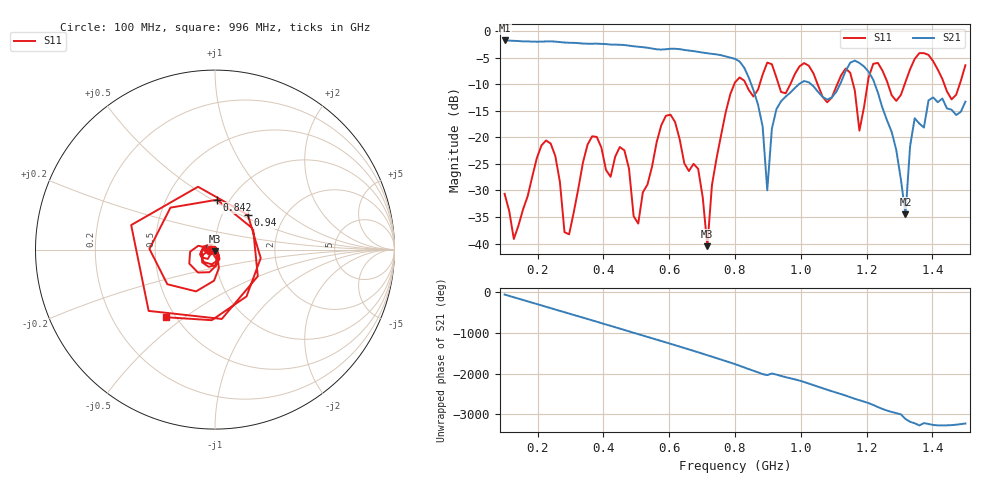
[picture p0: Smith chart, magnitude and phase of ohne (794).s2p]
! NanoVNA-App
! Date: 2025-09-25 14:26:59
! Start: 100MHz Stop: 1,5GHz Points: 101
! S-Parameter data: F S11 S21 S12 S22
# Hz S RI R 50
!  Frequency  S11_Real  S11_Imag  S21_Real  S21_Imag  S12_Real  S12_Imag  S22_Real  S22_Imag
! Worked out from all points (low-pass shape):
!   101 points, 100 MHz to 1.5 GHz, reference 50 ohm
!   highest |S21| = -1.79 dB at 100 MHz (marker M1); lowest = -34.5 dB at 1.318 GHz (marker M2)
!   |S21| within 3 dB of the highest: start of sweep to 771.6 MHz
!   lowest |S11| = -40.5 dB at 716 MHz (marker M3), VSWR 1.02, Z = 49.7 - j0.902 ohm
!   |S11| at or under -10 dB: start of sweep to 797.9 MHz; 833.2 MHz to 875.1 MHz (41.93 MHz wide, 4.91 % of centre); 1.051 GHz to 1.111 GHz (60.12 MHz wide, 5.56 % of centre) (the widest 3 of 7)
!   S12 and S22 are empty: the file has one direction only
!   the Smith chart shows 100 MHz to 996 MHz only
!   S11 on the Smith chart (normalised r, x): 100 MHz: 0.94, -0.01; 842 MHz: 0.88, +0.53; 940 MHz: 1.32, +0.55; 996 MHz: 0.45, -0.43
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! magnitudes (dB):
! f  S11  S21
! 100 MHz  -30.6  -1.8
! 128 MHz  -39.1  -1.9
! 226 MHz  -20.6  -2.0
! 296 MHz  -38.3  -2.2
! 338 MHz  -24.8  -2.4
! 464 MHz  -22.5  -2.7
! 506 MHz  -36.2  -3.0
! 576 MHz  -17.7  -3.5
! 688 MHz  -25.9  -3.9
! 716 MHz  -40.5  -4.2
! 800 MHz  -9.7  -5.3
! 842 MHz  -11.1  -8.8
! 898 MHz  -6.0  -30.0
! 940 MHz  -11.5  -13.2
! 996 MHz  -6.7  -9.9
! 1.038 GHz  -7.9  -10.4
! 1.178 GHz  -18.8  -6.0
! 1.22 GHz  -6.2  -9.2
! 1.276 GHz  -12.1  -19.0
! 1.318 GHz  -9.6  -34.5
! 1.346 GHz  -5.3  -16.4
! 1.5 GHz  -6.4  -13.3
